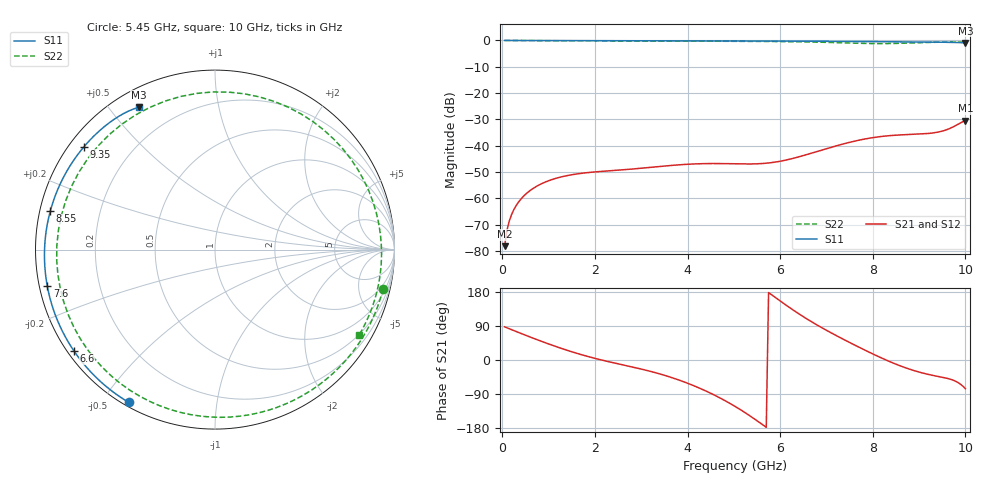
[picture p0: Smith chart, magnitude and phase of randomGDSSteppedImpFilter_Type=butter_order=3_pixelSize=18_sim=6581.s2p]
! freq	dB(S11)	phase(S11)	dB(S12)	phase(S12)
!  dB(S21)	phase(S21)	dB(S22)	phase(S22)
!S-par simulation data
#  GHz  S  DB  R 50
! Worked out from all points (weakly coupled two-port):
!   200 points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, 50 MHz to 10 GHz, reference 50 ohm
!   highest |S21| = -30.45 dB at 10 GHz (marker M1); lowest = -78.2 dB at 50 MHz (marker M2)
!   lowest |S11| = -0.9 dB at 10 GHz (marker M3), VSWR 18.86, Z = 3.6 + j29.9 ohm
!   |S11| at or under -10 dB: nowhere
!   |S22| runs from -1.2 to 0.0 dB; largest |S21 - S12| = 0
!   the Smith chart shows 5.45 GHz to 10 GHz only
!   S11 on the Smith chart (normalised r, x): 5.45 GHz: 0.02, -0.58; 6.6 GHz: 0.02, -0.32; 7.6 GHz: 0.02, -0.11; 8.55 GHz: 0.03, +0.12; 9.35 GHz: 0.04, +0.34; 10 GHz: 0.07, +0.60
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0.05  -0.00 -1.2  -78.15 87.5  -78.15 87.5  -0.00 -3.8
0.2  -0.01 -4.6  -66.17 80.0  -66.17 80.0  -0.02 -15.3
0.5  -0.01 -11.6  -58.47 65.4  -58.47 65.4  -0.05 -37.9
1.1  -0.03 -25.3  -52.69 38.0  -52.69 38.0  -0.10 -82.2
1.75  -0.05 -39.9  -50.38 12.6  -50.38 12.6  -0.14 -128.5
2.15  -0.06 -48.8  -49.73 -0.2  -49.73 -0.2  -0.17 -156.2
2.55  -0.07 -57.6  -49.21 -11.5  -49.21 -11.5  -0.19 176.4
3.4  -0.10 -76.0  -47.87 -36.7  -47.87 -36.7  -0.23 118.7
4.15  -0.13 -92.0  -46.91 -68.6  -46.91 -68.6  -0.26 68.7
5.05  -0.17 -110.9  -46.88 -124.2  -46.88 -124.2  -0.31 11.4
5.45  -0.20 -119.4  -46.89 -155.9  -46.89 -155.9  -0.34 -13.1
6.1  -0.24 -133.3  -45.54 147.1  -45.54 147.1  -0.44 -52.7
6.6  -0.29 -144.4  -43.22 106.7  -43.22 106.7  -0.57 -84.8
6.7  -0.30 -146.6  -42.70 99.3  -42.70 99.3  -0.60 -91.6
7.15  -0.34 -157.0  -40.34 68.4  -40.34 68.4  -0.79 -125.2
7.6  -0.39 -167.9  -38.28 40.0  -38.28 40.0  -1.02 -165.9
7.95  -0.43 -176.8  -37.06 18.9  -37.06 18.9  -1.17 156.2
8.35  -0.49 172.5  -36.18 -3.4  -36.18 -3.4  -1.18 108.6
8.55  -0.52 166.8  -35.93 -13.4  -35.93 -13.4  -1.10 85.1
8.95  -0.58 154.9  -35.62 -30.2  -35.62 -30.2  -0.88 42.9
9.35  -0.65 142.0  -35.00 -41.9  -35.00 -41.9  -0.69 9.1
10  -0.92 118.1  -30.45 -75.7  -30.45 -75.7  -0.60 -30.7
